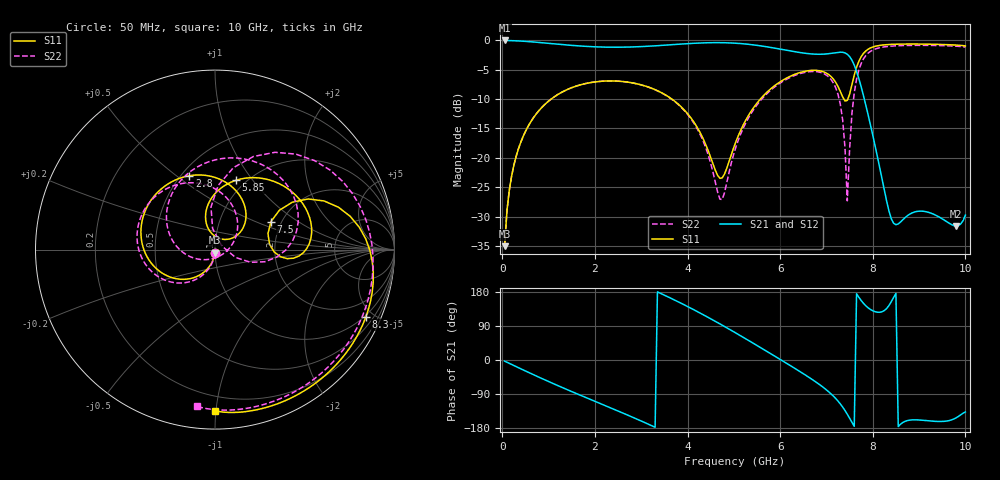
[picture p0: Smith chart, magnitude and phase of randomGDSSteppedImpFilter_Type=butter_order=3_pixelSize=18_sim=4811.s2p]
! freq	dB(S11)	phase(S11)	dB(S12)	phase(S12)
!  dB(S21)	phase(S21)	dB(S22)	phase(S22)
!S-par simulation data
#  GHz  S  DB  R 50
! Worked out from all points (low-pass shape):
!   200 points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, 50 MHz to 10 GHz, reference 50 ohm
!   highest |S21| = -0.01 dB at 50 MHz (marker M1); lowest = -31.6 dB at 9.8 GHz (marker M2)
!   |S21| within 3 dB of the highest: start of sweep to 7.521 GHz
!   lowest |S11| = -35.0 dB at 50 MHz (marker M3), VSWR 1.04, Z = 49.9 - j1.76 ohm
!   |S11| at or under -10 dB: start of sweep to 1.054 GHz; 3.663 GHz to 5.572 GHz (1.908 GHz wide, 41.3 % of centre); 7.378 GHz to 7.46 GHz (82.57 MHz wide, 1.11 % of centre)
!   |S22| runs from -35.0 to -0.8 dB; largest |S21 - S12| = 0
!   S11 on the Smith chart (normalised r, x): 50 MHz: 1.00, -0.04; 2.8 GHz: 0.55, +0.56; 5.85 GHz: 0.90, +0.83; 7.5 GHz: 1.76, +0.63; 8.3 GHz: 0.92, -4.53; 10 GHz: 0.11, -1.00
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0.05  -35.04 -93.0  -0.01 -3.0  -0.01 -3.0  -35.04 -92.6
0.2  -23.15 -102.8  -0.04 -11.7  -0.04 -11.7  -23.15 -101.3
0.5  -15.50 -121.5  -0.16 -29.0  -0.16 -29.0  -15.50 -117.6
1.75  -7.44 166.4  -0.99 -96.3  -0.99 -96.3  -7.43 179.9
2.8  -7.22 109.1  -1.11 -150.3  -1.11 -150.3  -7.22 129.7
3.4  -8.75 75.9  -0.87 176.9  -0.87 176.9  -8.77 98.1
4.2  -14.70 36.0  -0.47 128.5  -0.47 128.5  -14.92 45.3
4.7  -23.49 65.8  -0.38 95.2  -0.38 95.2  -27.05 -51.1
5.05  -17.14 108.5  -0.48 70.7  -0.48 70.7  -18.03 -157.6
5.85  -7.90 73.3  -1.27 12.7  -1.27 12.7  -8.12 127.7
6.7  -5.09 21.8  -2.32 -52.0  -2.32 -52.0  -5.29 53.9
7.25  -7.85 -7.1  -2.03 -108.5  -2.03 -108.5  -9.21 -7.0
7.35  -9.62 -2.4  -2.02 -124.2  -2.02 -124.2  -13.53 -19.7
7.45  -10.22 16.8  -2.35 -143.1  -2.35 -143.1  -27.32 28.0
7.5  -9.14 26.6  -2.75 -153.5  -2.75 -153.5  -18.52 96.5
7.6  -5.91 31.5  -4.20 -175.0  -4.20 -175.0  -8.91 87.1
7.8  -2.20 13.8  -9.43 149.4  -9.43 149.4  -3.13 49.7
8.3  -0.72 -24.0  -27.38 135.9  -27.38 135.9  -1.05 -6.6
8.35  -0.69 -26.7  -29.06 143.8  -29.06 143.8  -1.01 -10.5
9.05  -0.62 -57.6  -29.08 -158.7  -29.08 -158.7  -0.83 -54.0
9.8  -0.79 -83.7  -31.62 -152.6  -31.62 -152.6  -0.98 -88.8
10  -0.93 -89.9  -29.76 -137.1  -29.76 -137.1  -1.13 -96.7
